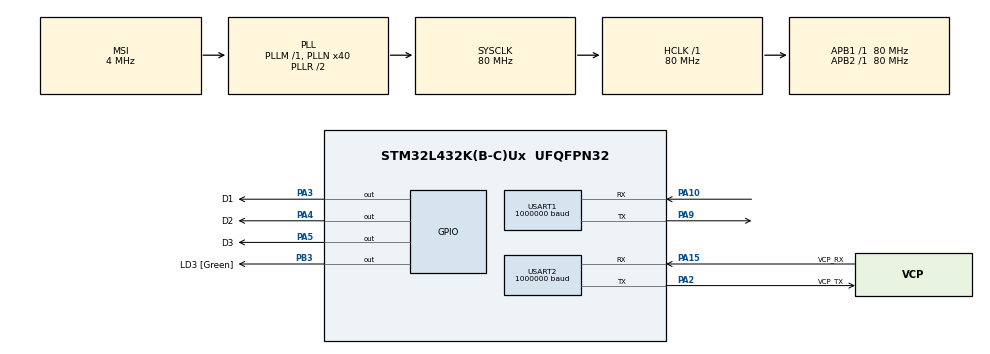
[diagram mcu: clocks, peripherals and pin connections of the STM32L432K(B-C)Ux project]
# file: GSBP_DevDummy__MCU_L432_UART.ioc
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Dma.Request0=USART1_TX
Dma.Request1=USART2_RX
Dma.Request2=USART2_TX
Dma.USART1_TX.0.Direction=DMA_MEMORY_TO_PERIPH
Dma.USART1_TX.0.Instance=DMA1_Channel4
Dma.USART1_TX.0.MemDataAlignment=DMA_MDATAALIGN_BYTE
Dma.USART1_TX.0.MemInc=DMA_MINC_ENABLE
Dma.USART1_TX.0.Mode=DMA_NORMAL
Dma.USART1_TX.0.PeriphDataAlignment=DMA_PDATAALIGN_BYTE
Dma.USART1_TX.0.PeriphInc=DMA_PINC_DISABLE
Dma.USART1_TX.0.Priority=DMA_PRIORITY_HIGH
Dma.USART2_RX.1.Direction=DMA_PERIPH_TO_MEMORY
Dma.USART2_RX.1.Instance=DMA1_Channel6
Dma.USART2_RX.1.MemDataAlignment=DMA_MDATAALIGN_BYTE
Dma.USART2_RX.1.MemInc=DMA_MINC_ENABLE
Dma.USART2_RX.1.Mode=DMA_CIRCULAR
Dma.USART2_RX.1.PeriphDataAlignment=DMA_PDATAALIGN_BYTE
Dma.USART2_RX.1.PeriphInc=DMA_PINC_DISABLE
Dma.USART2_RX.1.Priority=DMA_PRIORITY_HIGH
Dma.USART2_TX.2.Direction=DMA_MEMORY_TO_PERIPH
Dma.USART2_TX.2.Instance=DMA1_Channel7
Dma.USART2_TX.2.MemDataAlignment=DMA_MDATAALIGN_BYTE
Dma.USART2_TX.2.MemInc=DMA_MINC_ENABLE
Dma.USART2_TX.2.Mode=DMA_NORMAL
Dma.USART2_TX.2.PeriphDataAlignment=DMA_PDATAALIGN_BYTE
Dma.USART2_TX.2.PeriphInc=DMA_PINC_DISABLE
Dma.USART2_TX.2.Priority=DMA_PRIORITY_LOW
Mcu.Family=STM32L4
Mcu.Name=STM32L432K(B-C)Ux
Mcu.Package=UFQFPN32
NVIC.DMA1_Channel4_IRQn=true\:0\:0\:false\:false\:true\:false\:true
NVIC.DMA1_Channel6_IRQn=true\:0\:0\:false\:false\:true\:false\:true
NVIC.DMA1_Channel7_IRQn=true\:0\:0\:false\:false\:true\:false\:true
NVIC.PriorityGroup=NVIC_PRIORITYGROUP_4
NVIC.USART1_IRQn=true\:0\:0\:false\:false\:true\:true\:true
NVIC.USART2_IRQn=true\:0\:0\:false\:false\:true\:true\:true
PA0.GPIO_Label=MCO [High speed clock in]
PA0.Mode=HSE-External-Clock-Source-for-LittleOrca
PA0.Signal=RCC_CK_IN
PA10.Mode=Asynchronous
PA10.Signal=USART1_RX
PA13\ (JTMS-SWDIO).GPIO_Label=SWDIO
PA13\ (JTMS-SWDIO).Mode=Serial_Wire
PA13\ (JTMS-SWDIO).Signal=SYS_JTMS-SWDIO
PA14\ (JTCK-SWCLK).GPIO_Label=SWCLK
PA14\ (JTCK-SWCLK).Mode=Serial_Wire
PA14\ (JTCK-SWCLK).Signal=SYS_JTCK-SWCLK
PA15\ (JTDI).GPIO_Label=VCP_RX
PA15\ (JTDI).Mode=Asynchronous
PA15\ (JTDI).Signal=USART2_RX
PA2.GPIO_Label=VCP_TX
PA2.Mode=Asynchronous
PA2.Signal=USART2_TX
PA3.GPIO_Label=D1
PA3.Signal=GPIO_Output
PA4.GPIO_Label=D2
PA4.Signal=GPIO_Output
PA5.GPIO_Label=D3
PA5.Signal=GPIO_Output
PA9.Mode=Asynchronous
PA9.Signal=USART1_TX
PB3\ (JTDO-TRACESWO).GPIO_Label=LD3 [Green]
PB3\ (JTDO-TRACESWO).Signal=GPIO_Output
PC14-OSC32_IN\ (PC14).Mode=LSE-External-Oscillator
PC14-OSC32_IN\ (PC14).Signal=RCC_OSC32_IN
PC15-OSC32_OUT\ (PC15).Mode=LSE-External-Oscillator
PC15-OSC32_OUT\ (PC15).Signal=RCC_OSC32_OUT
ProjectManager.HeapSize=0x200
ProjectManager.StackSize=0x400
ProjectManager.TargetToolchain=STM32CubeIDE
RCC.ADCFreq_Value=48000000
RCC.AHBFreq_Value=80000000
RCC.APB1Freq_Value=80000000
RCC.APB1TimFreq_Value=80000000
RCC.APB2Freq_Value=80000000
RCC.APB2TimFreq_Value=80000000
RCC.CK48CLockSelection=RCC_USBCLKSOURCE_HSI48
RCC.CortexFreq_Value=80000000
RCC.HCLKFreq_Value=80000000
RCC.HSE_VALUE=8000000
RCC.HSI16_VALUE=16000000
RCC.HSI48_VALUE=48000000
RCC.HSI_VALUE=16000000
RCC.MSI_VALUE=4000000
RCC.PLLMUL=RCC_PLLMUL_4
RCC.PLLN=40
RCC.PLLSAI1N=24
RCC.SYSCLKFreq_VALUE=80000000
RCC.SYSCLKSource=RCC_SYSCLKSOURCE_PLLCLK
RCC.USBFreq_Value=48000000
RCC.VCOOutputFreq_Value=160000000
USART1.BaudRate=1000000
USART1.VirtualMode-Asynchronous=VM_ASYNC
USART2.BaudRate=1000000
USART2.VirtualMode-Asynchronous=VM_ASYNC
board=NUCLEO-L432KC

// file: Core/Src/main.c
/* USER CODE BEGIN Header */
/**
  ******************************************************************************
  * @file           : main.c
  * @brief          : Main program body
  ******************************************************************************
  * @attention
  *
  * <h2><center>&copy; Copyright (c) 2020 STMicroelectronics.
  * All rights reserved.</center></h2>
  *
  * This software component is licensed by ST under BSD 3-Clause license,
  * the "License"; You may not use this file except in compliance with the
  * License. You may obtain a copy of the License at:
  *                        opensource.org/licenses/BSD-3-Clause
  *
  ******************************************************************************
  */
/* USER CODE END Header */
#include "main.h"
#include "dma.h"
#include "usart.h"
#include "gpio.h"

/* USER CODE BEGIN Includes */
#include "GSBP_Basic_Config.h"
#include "GSBP_Basic.h"
/* USER CODE END Includes */

void SystemClock_Config(void);

int main(void)
{

  /* MCU Configuration--------------------------------------------------------*/

  /* Reset of all peripherals, Initializes the Flash interface and the Systick. */
  HAL_Init();

  /* Configure the system clock */
  SystemClock_Config();

  /* Initialize all configured peripherals */
  MX_GPIO_Init();
  MX_DMA_Init();
  MX_USART2_UART_Init();
  MX_USART1_UART_Init();
  /* USER CODE BEGIN 2 */

  /* Initialise variables
   **********************************************************************************************/
  mcuState = preInit;
  uint32_t ledCounter = HAL_GetTick() + LED_PERIOD_MS;
  uint32_t dataCounter = 0;
  uint32_t dataCounterPeriodMS = 0;
  uint16_t dataSize = 0;
  uint8_t  dataIncrement = 0;
  int16_t  dataLastValue = 0;

  /* Initialise the communication system
   *********************************************************************************************/
  	GSBP_Init();
  	gsbpDebugMSG(3, "\n\n\nGSBP Development System started...\n##############################\n\n");

  /* USER CODE END 2 */

  /* Infinite loop */
  /* USER CODE BEGIN WHILE */
  while (1)
  {
		/*
		 *  run the low frequency LED code
		 */
		if (HAL_GetTick() >= ledCounter) {
			ledCounter = HAL_GetTick() + LED_PERIOD_MS;
			HAL_GPIO_TogglePin(LD3_GPIO_Port, LD3_Pin);
		}

		/*
		 *  run the GSBP callback to check for new packages
		 */
		if (HAL_GetTick() >= gCOM.NextCallbackTimer) {
			gCOM.NextCallbackTimer = HAL_GetTick() +GSBP_SETUP__CALLBACK_PERIOD_IN_MS;
			GSBP_CheckAndEvaluatePackages();
		}

		/*
		 *  execute the global state machine
		 */
		switch (mcuState){
		case preInit:
			// do noting -> wait for the init command
			break;

		case doInit:{
			// simple initialisation for this example

			// get the data of the initalisation CMD stored in gCOM.CMD
			initCMD_t *cmd = (initCMD_t*)gCOM.CMD.Data;
			// update the variables with the values from the CMD
			dataCounterPeriodMS = cmd->dataPeriodMS;
			dataSize = cmd->dataSize;
			if (dataSize > GSBP_MEASURMENT_DATA_SIZE_MAX){
				dataSize = GSBP_MEASURMENT_DATA_SIZE_MAX;
			}
			dataIncrement = cmd->increment;
			dataLastValue = 0;

			// prepare the init ACK
			gCOM.ACK.CommandID = InitACK;				// set the correct command ID
			gCOM.ACK.RequestID = gCOM.CMD.RequestID;	// set the request id from the command, so the ACK is associated correctly
			initACK_t *ack = (initACK_t*)gCOM.ACK.Data;	// connect the data storage of the ACK with a initACK_t struct for ease of use
			if (dataSize != 0) {
				ack->success = true;
			} else {
				ack->success = false;
			}
			ack->dataPeriodMS = dataCounterPeriodMS;
			ack->dataSize = dataSize;
			ack->increment = dataIncrement;

			gCOM.ACK.DataSize = sizeof(initACK_t);
			// send the ACK to the PC
			GSBP_SendPackage(gCOM.CMD.HandleOfThisCMD, &gCOM.ACK);

			// update the state machine
			mcuState = postInit;
			}
			break;

		case postInit:
			// do noting -> wait for the start command
			HAL_GPIO_TogglePin(LD3_GPIO_Port, LD3_Pin);
			break;

		case startMeasurement:
			// start the measurement
			if (dataSize != 0){
				dataCounter = HAL_GetTick() + dataCounterPeriodMS;
				// send the ACK
				GSBP_SendUniversalACK(gCOM.CMD.HandleOfThisCMD, StartApplicationCMD, true);
			} else {
				// dataSize is 0 because the was no successful initialisation
				GSBP_SendUniversalACK(gCOM.CMD.HandleOfThisCMD, StartApplicationCMD, false);
			}
			// update the state machine
			mcuState = measurementActive;
			break;

		case measurementActive:
			// check if a new dummy measurement data package needs to be send
			if (HAL_GetTick() >= dataCounter){
				dataCounter = HAL_GetTick() + dataCounterPeriodMS;

				// prepare the measurement data ACK
				gCOM.ACK.CommandID = ApplicationDataACK;							// set the correct command ID
				gCOM.ACK.RequestID = GSBP__REQUEST_ID_MEASUREMENT_DATA; 			// set the request id for measurement data ACKs
				measurementDataACK_t *ack = (measurementDataACK_t*)gCOM.ACK.Data;	// connect the data storage of the ACK
				for (uint16_t i=0; i<dataSize; i++){
					ack->data[i] = dataLastValue;
					dataLastValue += dataIncrement;
				}
				ack->numberOfValues = dataSize;
				gCOM.ACK.DataSize = sizeof(int16_t)*ack->numberOfValues +sizeof(uint16_t);
				// send the ACK to the PC
				GSBP_SendPackage(gCOM.CMD.HandleOfThisCMD, &gCOM.ACK);
			}
			break;

		case stopMeasurement:
			// stop the measurement
			// send the ACK
			GSBP_SendUniversalACK(gCOM.CMD.HandleOfThisCMD, StopApplicationCMD, true);
			// update the state machine
			mcuState = postInit;
			break;

		case doDeInit:
			// simple deinitialisation for this example
			dataSize = 0;
			// send the ACK
			GSBP_SendUniversalACK(gCOM.CMD.HandleOfThisCMD, DeInitCMD, true);
			// update the state machine
			mcuState = preInit;
			break;

		default:
			// update the state machine
			mcuState = preInit;
		}

    /* USER CODE END WHILE */

  }
}

void SystemClock_Config(void)
{
  RCC_OscInitTypeDef RCC_OscInitStruct = {0};
  RCC_ClkInitTypeDef RCC_ClkInitStruct = {0};
  RCC_PeriphCLKInitTypeDef PeriphClkInit = {0};

  /** Configure LSE Drive Capability
  */
  HAL_PWR_EnableBkUpAccess();
  __HAL_RCC_LSEDRIVE_CONFIG(RCC_LSEDRIVE_LOW);
  /** Initializes the RCC Oscillators according to the specified parameters
  * in the RCC_OscInitTypeDef structure.
  */
  RCC_OscInitStruct.OscillatorType = RCC_OSCILLATORTYPE_LSE|RCC_OSCILLATORTYPE_MSI;
  RCC_OscInitStruct.LSEState = RCC_LSE_ON;
  RCC_OscInitStruct.MSIState = RCC_MSI_ON;
  RCC_OscInitStruct.MSICalibrationValue = 0;
  RCC_OscInitStruct.MSIClockRange = RCC_MSIRANGE_6;
  RCC_OscInitStruct.PLL.PLLState = RCC_PLL_ON;
  RCC_OscInitStruct.PLL.PLLSource = RCC_PLLSOURCE_MSI;
  RCC_OscInitStruct.PLL.PLLM = 1;
  RCC_OscInitStruct.PLL.PLLN = 40;
  RCC_OscInitStruct.PLL.PLLP = RCC_PLLP_DIV7;
  RCC_OscInitStruct.PLL.PLLQ = RCC_PLLQ_DIV2;
  RCC_OscInitStruct.PLL.PLLR = RCC_PLLR_DIV2;
  if (HAL_RCC_OscConfig(&RCC_OscInitStruct) != HAL_OK)
  {
    Error_Handler();
  }
  /** Initializes the CPU, AHB and APB buses clocks
  */
  RCC_ClkInitStruct.ClockType = RCC_CLOCKTYPE_HCLK|RCC_CLOCKTYPE_SYSCLK
                              |RCC_CLOCKTYPE_PCLK1|RCC_CLOCKTYPE_PCLK2;
  RCC_ClkInitStruct.SYSCLKSource = RCC_SYSCLKSOURCE_PLLCLK;
  RCC_ClkInitStruct.AHBCLKDivider = RCC_SYSCLK_DIV1;
  RCC_ClkInitStruct.APB1CLKDivider = RCC_HCLK_DIV1;
  RCC_ClkInitStruct.APB2CLKDivider = RCC_HCLK_DIV1;

  if (HAL_RCC_ClockConfig(&RCC_ClkInitStruct, FLASH_LATENCY_4) != HAL_OK)
  {
    Error_Handler();
  }
  PeriphClkInit.PeriphClockSelection = RCC_PERIPHCLK_USART1|RCC_PERIPHCLK_USART2;
  PeriphClkInit.Usart1ClockSelection = RCC_USART1CLKSOURCE_PCLK2;
  PeriphClkInit.Usart2ClockSelection = RCC_USART2CLKSOURCE_PCLK1;
  if (HAL_RCCEx_PeriphCLKConfig(&PeriphClkInit) != HAL_OK)
  {
    Error_Handler();
  }
  /** Configure the main internal regulator output voltage
  */
  if (HAL_PWREx_ControlVoltageScaling(PWR_REGULATOR_VOLTAGE_SCALE1) != HAL_OK)
  {
    Error_Handler();
  }
  /** Enable MSI Auto calibration
  */
  HAL_RCCEx_EnableMSIPLLMode();
}

void Error_Handler(void)
{
}

/************************ (C) COPYRIGHT STMicroelectronics *****END OF FILE****/
